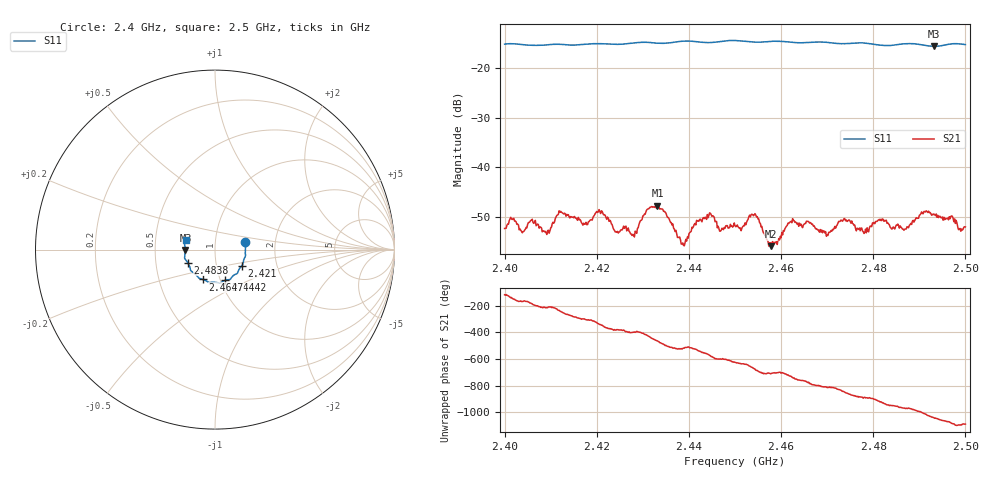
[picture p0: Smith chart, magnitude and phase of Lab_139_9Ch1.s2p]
# Hz S RI R 50
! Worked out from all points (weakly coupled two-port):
!   601 points, 2.4 GHz to 2.5 GHz, reference 50 ohm
!   highest |S21| = -47.72 dB at 2.4332 GHz (marker M1); lowest = -55.9 dB at 2.4578 GHz (marker M2)
!   lowest |S11| = -15.6 dB at 2.4932 GHz (marker M3), VSWR 1.40, Z = 35.8 - j0.118 ohm
!   |S11| at or under -10 dB: start of sweep to end of sweep
!   S12 and S22 are empty: the file has one direction only
!   S11 on the Smith chart (normalised r, x): 2.4 GHz: 1.40, +0.12; 2.421 GHz: 1.33, -0.24; 2.4442 GHz: 1.05, -0.37; 2.4647 GHz: 0.83, -0.28; 2.4838 GHz: 0.73, -0.11; 2.5 GHz: 0.71, +0.08
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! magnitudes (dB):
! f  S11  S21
! 2.4 GHz  -15.2  -52.3
! 2.4017 GHz  -15.1  -50.5
! 2.4093 GHz  -15.3  -52.8
! 2.4122 GHz  -15.2  -48.9
! 2.4167 GHz  -15.3  -51.2
! 2.421 GHz  -15.1  -48.8
! 2.4277 GHz  -15.0  -53.8
! 2.4332 GHz  -15.0  -47.7
! 2.4333 GHz  -15.0  -48.0
! 2.4387 GHz  -14.6  -55.2
! 2.4442 GHz  -14.9  -50.2
! 2.45 GHz  -14.5  -51.8
! 2.4543 GHz  -14.8  -49.3
! 2.4578 GHz  -14.6  -55.9
! 2.462 GHz  -14.8  -51.0
! 2.4647 GHz  -14.9  -52.2
! 2.4667 GHz  -14.8  -51.5
! 2.47 GHz  -14.9  -53.7
! 2.4833 GHz  -15.5  -51.4
! 2.4838 GHz  -15.5  -52.2
! 2.4932 GHz  -15.6  -49.4
! 2.5 GHz  -15.3  -52.0
